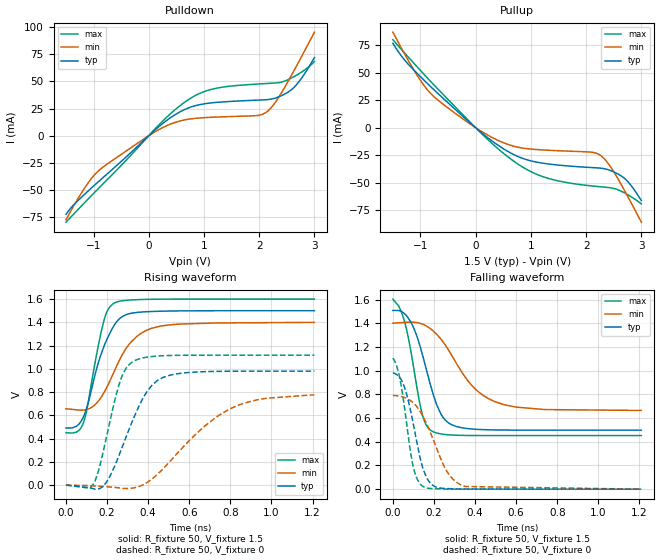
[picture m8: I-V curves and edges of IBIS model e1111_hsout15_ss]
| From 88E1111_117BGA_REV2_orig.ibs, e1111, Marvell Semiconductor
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|   Model e1111_hsout15_ss
[Model]   e1111_hsout15_ss
Model_type   Output
Polarity   Non-Inverting
Enable   Active-High
Vmeas =   0.7500V
Cref =  5.0000pF
Rref =  50.0000
Vref =   0.7500V
|   Typ   Min   Max
C_comp   1.455p   1.314p   1.483p
[Temperature Range]   25   125   0
[Voltage Range]   1.500   1.400   1.600
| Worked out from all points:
|   slope of the pulldown table from 0 to 0.225 V, typ, clamps not added: 22.2 ohm
|   slope of the pullup table from 0 to 0.225 V, typ, clamps not added: 24.2 ohm
|   rising waveform, R_fixture 50, V_fixture 1.5: 20-80 % time 106ps typ, 141ps min, 73.3ps max; typ from 0.492 V to 1.5 V
|   falling waveform, R_fixture 50, V_fixture 1.5: 20-80 % time 103ps typ, 184ps min, 72.9ps max; typ from 1.51 V to 0.499 V
|   rising waveform, R_fixture 50, V_fixture 0: 20-80 % time 143ps typ, 283ps min, 91ps max; typ from 0 V to 0.981 V
|   falling waveform, R_fixture 50, V_fixture 0: 20-80 % time 73.1ps typ, 119ps min, 56ps max; typ from 0.982 V to 0 V
[Pullup]
|   I(typ)   I(min)   I(max)
-1.5V     76.71mA    86.85mA    80.02mA
-1.312V   63.03mA    69.33mA    69.29mA
-1.031V   47.94mA    45.33mA    53.71mA
-750mV    34.21mA    27.96mA    38.57mA
140.6mV   -5.943mA   -4.433mA   -6.964mA
796.9mV   -26.8mA    -18.04mA   -34.05mA
1.359V    -33.18mA   -20.56mA   -46.62mA
2.25V     -36.68mA   -24.74mA   -53.59mA
2.438V    -38.82mA   -35.11mA   -54.55mA
2.672V    -45.08mA   -54.84mA   -58.58mA
2.812V    -52.31mA   -67.88mA   -62.65mA
3V        -66.19mA   -85.79mA   -69.14mA
[Pulldown]
|   I(typ)   I(min)   I(max)
-1.5V     -72.37mA   -77.44mA   -79.67mA
-1.172V   -54.41mA   -48.98mA   -62.21mA
-937.5mV  -43.5mA    -33.63mA   -49.93mA
187.5mV   8.587mA    5.746mA    10.22mA
609.4mV   23.14mA    14.13mA    29.36mA
984.4mV   29.21mA    16.56mA    40.29mA
1.359V    31.19mA    17.45mA    44.92mA
1.969V    32.77mA    18.65mA    47.6mA
2.156V    33.29mA    22.72mA    48.16mA
2.344V    35.61mA    34.72mA    48.85mA
2.625V    44.25mA    59.52mA    54.27mA
3V        72.04mA    95.46mA    68.37mA
[Ramp]
| variable   typ   min   max
dV/dt_r   0.609/146.67p   0.487/294.28p   0.685/92.82p
dV/dt_f   0.608/102.37p   0.448/185.78p   0.695/73.39p
R_load  =   50
[Rising Waveform]
R_fixture = 50
V_fixture = 1.5
V_fixture_min = 1.4
V_fixture_max = 1.6
|   V(typ)   V(min)   V(max)
0s        491.7mV    657.1mV    450.9mV
50ps      505.7mV    648mV      455.6mV
85ps      586.9mV    646.4mV    536.8mV
104ps     682.5mV    652.4mV    670.8mV
136ps     909.4mV    683.2mV    998.8mV
184ps     1.189V     793.3mV    1.41V
236ps     1.378V     982mV      1.566V
317ps     1.478V     1.231V     1.592V
461ps     1.495V     1.368V     1.599V
1.209ns   1.5V       1.4V       1.6V
[Falling Waveform]
R_fixture = 50
V_fixture = 1.5
V_fixture_min = 1.4
V_fixture_max = 1.6
|   V(typ)   V(min)   V(max)
0s        1.51V      1.402V     1.606V
51ps      1.491V     1.408V     1.451V
96ps      1.382V     1.411V     1.081V
143ps     1.143V     1.395V     633.8mV
191ps     832.9mV    1.345V     489.8mV
235ps     630.9mV    1.266V     466.3mV
274ps     556.7mV    1.167V     458.9mV
390ps     507.7mV    866.2mV    453.3mV
501ps     500.3mV    736.6mV    452.7mV
1.209ns   498.5mV    665mV      452.7mV
[Rising Waveform]
R_fixture = 50
V_fixture = 0
V_fixture_min = 0
V_fixture_max = 0
|   V(typ)   V(min)   V(max)
0s        371.1uV    717.8uV    796.4uV
136ps     -31.77mV   -5.908mV   14.9mV
198ps     29mV       -13.12mV   421.2mV
264ps     283.2mV    -24.29mV   895.2mV
331ps     584.1mV    -22.29mV   1.067V
418ps     858.5mV    52.43mV    1.106V
509ps     946.6mV    210.4mV    1.115V
660ps     975mV      484.7mV    1.117V
805ps     979.7mV    661.9mV    1.117V
1.209ns   980.5mV    776.2mV    1.117V
[Falling Waveform]
R_fixture = 50
V_fixture = 0
V_fixture_min = 0
V_fixture_max = 0
|   V(typ)   V(min)   V(max)
0s        982.4mV    791.1mV    1.107V
28ps      954.6mV    787.1mV    983.3mV
59ps      848.9mV    772.7mV    662.3mV
98ps      565.2mV    731.2mV    200.1mV
120ps     369.4mV    689.7mV    81.19mV
148ps     166.8mV    611.3mV    21.31mV
190ps     38.84mV    447.1mV    4.915mV
261ps     5.147mV    157mV      1.084mV
350ps     1.263mV    22.93mV    149.7uV
1.209ns   22.95uV    84.11uV    21.24uV
